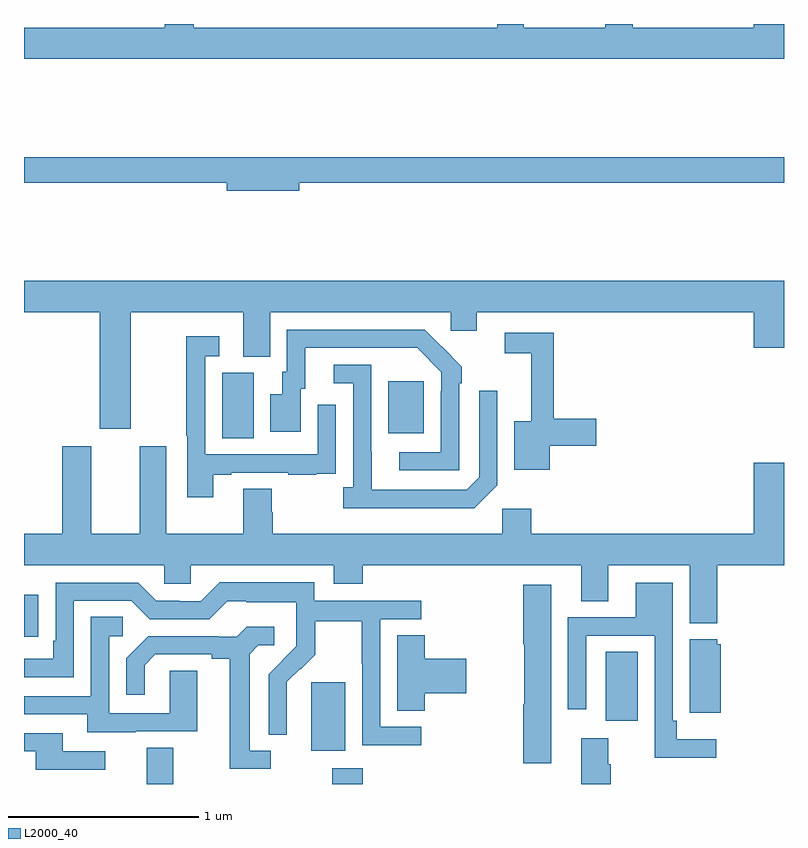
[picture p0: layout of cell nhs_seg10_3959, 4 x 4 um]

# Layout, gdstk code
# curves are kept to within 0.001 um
import gdstk
lib = gdstk.Library(unit=1e-6, precision=1e-09)
def R(c, l, rs):  # rectangles x0, y0, x1, y1
    for r in rs: c.add(gdstk.rectangle(r[:2], r[2:], *l))
def P(c, l, *ps):  # polygons
    for p in ps: c.add(gdstk.Polygon(p, *l))
L2000_40 = (2000, 40)

nhs_seg10_3959 = lib.new_cell('nhs_seg10_3959')
R(nhs_seg10_3959, L2000_40, [(329.645,1296.5,329.785,1296.692), (330.622,1296.5,330.782,1296.583), (330.512,1296.674,330.691,1297.035), (332.063,1296.834,332.23,1297.196), (329,1297.276,329.075,1297.495), (330.044,1298.32,330.208,1298.664), (330.917,1298.345,331.105,1298.62)])
P(nhs_seg10_3959, L2000_40, [(333,1300.5),(332.84,1300.5),(332.84,1300.48),(332.204,1300.48),(332.204,1300.5),(332.06,1300.5),(332.06,1300.48),(331.63,1300.48),(331.63,1300.5),(331.49,1300.5),(331.49,1300.48),(329.894,1300.48),(329.894,1300.5),(329.741,1300.5),(329.741,1300.48),(329,1300.48),(329,1300.316),(333,1300.316)],
  [(330.448,1299.664),(333,1299.664),(333,1299.8),(329,1299.8),(329,1299.664),(330.068,1299.664),(330.068,1299.622),(330.448,1299.622)],
  [(329.563,1298.984),(330.155,1298.984),(330.155,1298.749),(330.295,1298.749),(330.295,1298.984),(331.245,1298.984),(331.245,1298.886),(331.384,1298.886),(331.384,1298.984),(332.84,1298.984),(332.84,1298.796),(333,1298.796),(333,1299.148),(329,1299.148),(329,1298.984),(329.399,1298.984),(329.399,1298.37),(329.563,1298.37)],
  [(331.29,1298.609),(331.305,1298.609),(331.305,1298.697),(331.108,1298.892),(330.384,1298.892),(330.384,1298.67),(330.359,1298.67),(330.359,1298.551),(330.296,1298.551),(330.296,1298.355),(330.457,1298.355),(330.457,1298.58),(330.481,1298.58),(330.481,1298.796),(331.069,1298.796),(331.197,1298.667),(331.197,1298.567),(331.194,1298.567),(331.194,1298.247),(330.975,1298.247),(330.975,1298.151),(331.29,1298.151)],
  [(331.768,1298.281),(332.011,1298.281),(332.011,1298.423),(331.787,1298.423),(331.787,1298.874),(331.53,1298.874),(331.53,1298.766),(331.67,1298.766),(331.67,1298.41),(331.58,1298.41),(331.58,1298.153),(331.768,1298.153)],
  [(329.995,1298.127),(330.091,1298.127),(330.091,1298.139),(330.391,1298.139),(330.391,1298.127),(330.539,1298.127),(330.539,1298.133),(330.641,1298.133),(330.641,1298.242),(330.642,1298.242),(330.642,1298.497),(330.546,1298.497),(330.546,1298.235),(329.955,1298.235),(329.955,1298.751),(330.028,1298.751),(330.028,1298.857),(329.854,1298.857),(329.854,1298.332),(329.859,1298.332),(329.859,1298.01),(329.995,1298.01)],
  [(331.491,1298.073),(331.491,1298.569),(331.395,1298.569),(331.395,1298.115),(331.329,1298.049),(330.829,1298.049),(330.828,1298.706),(330.63,1298.706),(330.63,1298.61),(330.732,1298.61),(330.732,1298.062),(330.681,1298.062),(330.681,1297.952),(331.37,1297.952)],
  [(332.648,1297.652),(333,1297.652),(333,1298.191),(332.84,1298.191),(332.84,1297.816),(331.67,1297.816),(331.67,1297.948),(331.518,1297.948),(331.518,1297.816),(330.308,1297.816),(330.308,1297.929),(330.303,1297.929),(330.303,1298.054),(330.155,1298.054),(330.155,1297.816),(329.749,1297.816),(329.749,1298.278),(329.609,1298.278),(329.609,1297.816),(329.353,1297.816),(329.353,1298.278),(329.201,1298.278),(329.201,1297.816),(329,1297.816),(329,1297.652),(329.739,1297.652),(329.739,1297.554),(329.877,1297.554),(329.877,1297.652),(330.629,1297.652),(330.629,1297.553),(330.782,1297.553),(330.782,1297.652),(331.934,1297.652),(331.934,1297.462),(332.074,1297.462),(332.074,1297.652),(332.504,1297.652),(332.504,1297.346),(332.648,1297.346)],
  [(331.09,1296.801),(330.876,1296.801),(330.876,1297.368),(331.09,1297.368),(331.09,1297.464),(330.528,1297.464),(330.528,1297.561),(330.031,1297.561),(329.931,1297.461),(329.816,1297.461),(329.816,1297.464),(329.697,1297.464),(329.601,1297.56),(329.166,1297.56),(329.166,1297.255),(329.153,1297.255),(329.153,1297.158),(329,1297.158),(329,1297.062),(329.262,1297.062),(329.262,1297.464),(329.565,1297.464),(329.661,1297.368),(329.976,1297.368),(330.069,1297.461),(330.169,1297.461),(330.169,1297.457),(330.432,1297.457),(330.432,1297.323),(330.434,1297.323),(330.434,1297.226),(330.288,1297.078),(330.288,1296.76),(330.384,1296.76),(330.383,1297.037),(330.453,1297.107),(330.456,1297.104),(330.533,1297.181),(330.533,1297.356),(330.778,1297.356),(330.778,1297.132),(330.78,1297.132),(330.78,1296.703),(331.09,1296.703)],
  [(332.644,1296.736),(332.435,1296.736),(332.435,1296.832),(332.415,1296.832),(332.415,1297.558),(332.219,1297.558),(332.219,1297.377),(331.863,1297.377),(331.863,1296.894),(331.959,1296.894),(331.959,1297.281),(332.319,1297.281),(332.319,1296.638),(332.644,1296.638)],
  [(331.774,1297.549),(331.628,1297.549),(331.628,1297.236),(331.633,1297.236),(331.633,1296.921),(331.628,1296.921),(331.628,1296.609),(331.774,1296.609)],
  [(329.587,1296.777),(329.911,1296.777),(329.911,1297.097),(329.766,1297.097),(329.766,1296.873),(329.448,1296.873),(329.448,1297.278),(329.521,1297.278),(329.521,1297.379),(329.352,1297.379),(329.352,1296.963),(329,1296.963),(329,1296.867),(329.333,1296.867),(329.333,1296.773),(329.587,1296.773)],
  [(330.298,1296.675),(330.187,1296.675),(330.187,1297.183),(330.234,1297.23),(330.316,1297.23),(330.316,1297.327),(330.172,1297.327),(330.12,1297.275),(330.026,1297.275),(330.026,1297.278),(329.654,1297.278),(329.538,1297.162),(329.538,1296.969),(329.635,1296.969),(329.635,1297.125),(329.692,1297.182),(329.987,1297.182),(329.987,1297.16),(330.083,1297.16),(330.083,1296.579),(330.298,1296.579)],
  [(331.109,1296.977),(331.327,1296.977),(331.327,1297.16),(331.109,1297.16),(331.109,1297.283),(330.965,1297.283),(330.965,1296.886),(331.109,1296.886)],
  [(332.668,1297.236),(332.649,1297.236),(332.649,1297.261),(332.504,1297.261),(332.504,1296.875),(332.668,1296.875)],
  [(329.428,1296.672),(329.203,1296.672),(329.203,1296.768),(329,1296.768),(329,1296.672),(329.063,1296.672),(329.063,1296.576),(329.428,1296.576)],
  [(332.087,1296.605),(332.074,1296.605),(332.074,1296.742),(331.934,1296.742),(331.934,1296.5),(332.087,1296.5)])

lib.write_gds('nhs_seg10_3959.gds')
